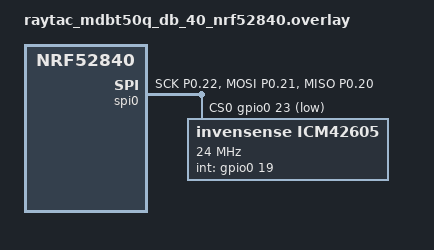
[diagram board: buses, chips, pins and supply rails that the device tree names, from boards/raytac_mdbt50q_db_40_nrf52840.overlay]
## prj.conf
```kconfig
#
# Copyright (c) 2019 Nordic Semiconductor ASA
#
# SPDX-License-Identifier: Apache-2.0
#

CONFIG_SPI=y
CONFIG_SENSOR=y
```

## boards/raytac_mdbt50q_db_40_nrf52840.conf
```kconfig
CONFIG_SERIAL=n
CONFIG_UART_CONSOLE=n

CONFIG_LOG=y
CONFIG_SHELL=y

CONFIG_USE_SEGGER_RTT=y
CONFIG_SEGGER_RTT_MODE_BLOCK_IF_FIFO_FULL=n

CONFIG_SHELL_BACKEND_RTT=y
CONFIG_SHELL_BACKEND_DUMMY=y
CONFIG_SHELL_BACKEND_SERIAL=n
```

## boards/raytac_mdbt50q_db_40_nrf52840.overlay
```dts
/*
 * Copyright (c) 2021 Nordic Semiconductor ASA
 *
 * SPDX-License-Identifier: Apache-2.0
 */

/delete-node/ &uart1;
/delete-node/ &uart1_default;
/delete-node/ &uart1_sleep;

/delete-node/ &i2c0;
/delete-node/ &i2c0_default;
/delete-node/ &i2c0_sleep;

/delete-node/ &i2c1;
/delete-node/ &i2c1_default;
/delete-node/ &i2c1_sleep;

// /delete-node/ &pwm_led0;
// /delete-node/ &pwm0;
// /delete-node/ &pwm0_default;
// /delete-node/ &pwm0_sleep;

// /delete-node/ &spi0;
// /delete-node/ &spi0_default;
// /delete-node/ &spi0_sleep;

/delete-node/ &spi1;
/delete-node/ &spi1_default;
/delete-node/ &spi1_sleep;

/delete-node/ &spi2;
/delete-node/ &spi2_default;
/delete-node/ &spi2_sleep;

/delete-node/ &qspi;
/delete-node/ &qspi_default;
/delete-node/ &qspi_sleep;
/delete-node/ &zephyr_udc0;

&pinctrl {
	spi0_default_alt: spi0_default_alt {
		group1 {
			psels = <NRF_PSEL(SPIM_SCK, 0, 22)>,
				<NRF_PSEL(SPIM_MOSI, 0, 21)>,
				<NRF_PSEL(SPIM_MISO, 0, 20)>;
		};
	};

	spi0_sleep_alt: spi0_sleep_alt {
		group1 {
			psels = <NRF_PSEL(SPIM_SCK, 0, 22)>,
				<NRF_PSEL(SPIM_MOSI, 0, 21)>,
				<NRF_PSEL(SPIM_MISO, 0, 20)>;
			low-power-enable;
		};
	};
};

&spi0 {
	compatible = "nordic,nrf-spi";
	status = "okay";
	pinctrl-0 = <&spi0_default_alt>;
	pinctrl-1 = <&spi0_sleep_alt>;
	pinctrl-names = "default", "sleep";
	cs-gpios = <&gpio0 23 GPIO_ACTIVE_LOW>;
	icm42605@0 {
		compatible = "invensense,icm42605";
		spi-max-frequency = <24000000>;
		reg = <0>;
		int-gpios = <&gpio0 19 (GPIO_ACTIVE_HIGH | GPIO_PULL_UP)>;
	};
};
```

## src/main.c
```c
/*
 * Copyright (c) 2020 TDK Invensense
 *
 * SPDX-License-Identifier: Apache-2.0
 */

#include <zephyr/kernel.h>
#include <zephyr/device.h>
#include <zephyr/drivers/sensor.h>
#include <stdio.h>
#include <zephyr/logging/log.h>
LOG_MODULE_REGISTER(icm42605_sample, LOG_LEVEL_DBG);

static const char *now_str(void)
{
	static char buf[16]; /* ...HH:MM:SS.MMM */
	uint32_t now = k_uptime_get_32();
	unsigned int ms = now % MSEC_PER_SEC;
	unsigned int s;
	unsigned int min;
	unsigned int h;

	now /= MSEC_PER_SEC;
	s = now % 60U;
	now /= 60U;
	min = now % 60U;
	now /= 60U;
	h = now;

	snprintf(buf, sizeof(buf), "%u:%02u:%02u.%03u",
		 h, min, s, ms);
	return buf;
}

static int process_icm42605(const struct device *dev)
{
	struct sensor_value temperature;
	struct sensor_value accel[3];
	struct sensor_value gyro[3];
	int rc = sensor_sample_fetch(dev);

	if (rc == 0) {
		rc = sensor_channel_get(dev, SENSOR_CHAN_ACCEL_XYZ,
					accel);
	}
	if (rc == 0) {
		rc = sensor_channel_get(dev, SENSOR_CHAN_GYRO_XYZ,
					gyro);
	}
	if (rc == 0) {
		rc = sensor_channel_get(dev, SENSOR_CHAN_DIE_TEMP,
					&temperature);
	}
	if (rc == 0) {
		LOG_INF("[%s]:% g Cel\n"
		       "  accel % f % f % f m/s/s\n"
		       "  gyro  % f % f % f rad/s\n",
		       now_str(),
		       sensor_value_to_double(&temperature),
		       sensor_value_to_double(&accel[0]),
		       sensor_value_to_double(&accel[1]),
		       sensor_value_to_double(&accel[2]),
		       sensor_value_to_double(&gyro[0]),
		       sensor_value_to_double(&gyro[1]),
		       sensor_value_to_double(&gyro[2]));
	} else {
		LOG_INF("sample fetch/get failed: %d\n", rc);
	}

	return rc;
}

static struct sensor_trigger data_trigger;
static struct sensor_trigger tap_trigger;
static struct sensor_trigger double_tap_trigger;

static void handle_icm42605_drdy(const struct device *dev,
				 const struct sensor_trigger *trig)
{
	int rc = process_icm42605(dev);

	if (rc != 0) {
		LOG_INF("cancelling trigger due to failure: %d\n", rc);
		(void)sensor_trigger_set(dev, trig, NULL);
		return;
	}
}

static void handle_icm42605_tap(const struct device *dev,
				const struct sensor_trigger *trig)
{
	LOG_INF("Tap Detected!\n");
}

static void handle_icm42605_double_tap(const struct device *dev,
				       const struct sensor_trigger *trig)
{
	LOG_INF("Double Tap detected!\n");
}

int main(void)
{
	const struct device *const icm42605 = DEVICE_DT_GET_ONE(invensense_icm42605);

	if (!device_is_ready(icm42605)) {
		printk("sensor: device not ready.\n");
		return 0;
	}

	tap_trigger = (struct sensor_trigger) {
		.type = SENSOR_TRIG_TAP,
		.chan = SENSOR_CHAN_ALL,
	};

	if (sensor_trigger_set(icm42605, &tap_trigger,
			       handle_icm42605_tap) < 0) {
		LOG_INF("Cannot configure tap trigger!!!\n");
		return 0;
	}

	double_tap_trigger = (struct sensor_trigger) {
		.type = SENSOR_TRIG_DOUBLE_TAP,
		.chan = SENSOR_CHAN_ALL,
	};

	if (sensor_trigger_set(icm42605, &double_tap_trigger,
			       handle_icm42605_double_tap) < 0) {
		LOG_INF("Cannot configure double tap trigger!!!\n");
		return 0;
	}

	data_trigger = (struct sensor_trigger) {
		.type = SENSOR_TRIG_DATA_READY,
		.chan = SENSOR_CHAN_ALL,
	};

	if (sensor_trigger_set(icm42605, &data_trigger,
			       handle_icm42605_drdy) < 0) {
		LOG_INF("Cannot configure data trigger!!!\n");
		return 0;
	}

	LOG_INF("Configured for triggered sampling.\n");
	return 0;
}
```
